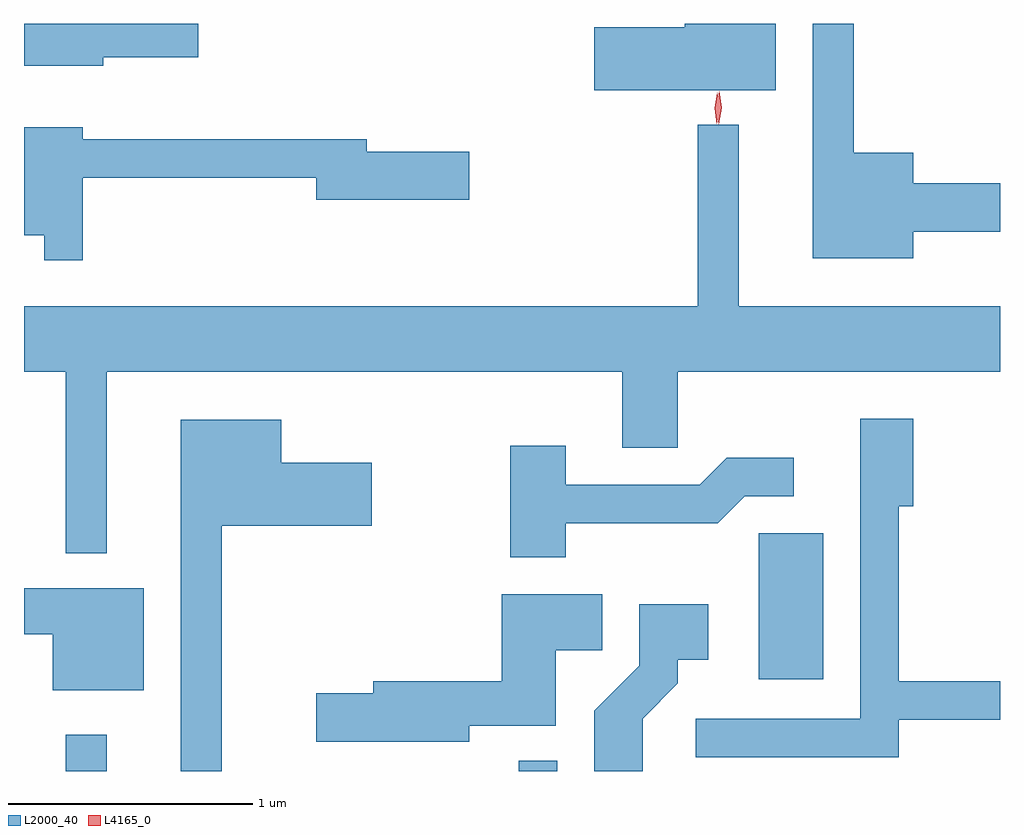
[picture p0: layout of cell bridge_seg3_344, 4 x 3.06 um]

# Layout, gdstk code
import gdstk
lib = gdstk.Library(unit=1e-6, precision=1e-09)
def R(c, l, rs):  # rectangles x0, y0, x1, y1
    for r in rs: c.add(gdstk.rectangle(r[:2], r[2:], *l))
def P(c, l, *ps):  # polygons
    for p in ps: c.add(gdstk.Polygon(p, *l))
L2000_40 = (2000, 40)
L4165_0 = (4165, 0)

bridge_seg3_344 = lib.new_cell('bridge_seg3_344')
R(bridge_seg3_344, L2000_40, [(558.341,1250.92,558.509,1251.068), (560.196,1250.92,560.354,1250.963), (561.181,1251.296,561.444,1251.894)])
P(bridge_seg3_344, L2000_40, [(558.494,1253.846),(558.884,1253.846),(558.884,1253.982),(558.169,1253.982),(558.169,1253.811),(558.494,1253.811)],
  [(561.814,1253.131),(562.169,1253.131),(562.169,1253.329),(561.814,1253.329),(561.814,1253.454),(561.569,1253.454),(561.569,1253.982),(561.401,1253.982),(561.401,1253.021),(561.814,1253.021)],
  [(561.249,1253.982),(560.876,1253.982),(560.876,1253.969),(560.506,1253.969),(560.506,1253.711),(561.249,1253.711)],
  [(558.509,1252.556),(560.621,1252.556),(560.621,1252.246),(560.849,1252.246),(560.849,1252.556),(562.169,1252.556),(562.169,1252.824),(561.099,1252.824),(561.099,1253.568),(560.931,1253.568),(560.931,1252.824),(558.169,1252.824),(558.169,1252.556),(558.341,1252.556),(558.341,1251.813),(558.509,1251.813)],
  [(558.409,1253.351),(559.366,1253.351),(559.366,1253.261),(559.994,1253.261),(559.994,1253.459),(559.574,1253.459),(559.574,1253.509),(558.409,1253.509),(558.409,1253.559),(558.169,1253.559),(558.169,1253.116),(558.251,1253.116),(558.251,1253.013),(558.409,1253.013)],
  [(561.754,1251.131),(562.169,1251.131),(562.169,1251.289),(561.754,1251.289),(561.754,1252.006),(561.814,1252.006),(561.814,1252.364),(561.596,1252.364),(561.596,1251.134),(560.923,1251.134),(560.923,1250.976),(561.754,1250.976)],
  [(558.979,1251.926),(559.594,1251.926),(559.594,1252.184),(559.224,1252.184),(559.224,1252.359),(558.811,1252.359),(558.811,1250.92),(558.979,1250.92)],
  [(560.389,1251.936),(561.012,1251.936),(561.122,1252.046),(561.323,1252.046),(561.323,1252.204),(561.049,1252.204),(560.939,1252.094),(560.389,1252.094),(560.389,1252.254),(560.161,1252.254),(560.161,1251.796),(560.389,1251.796)],
  [(558.659,1251.669),(558.169,1251.669),(558.169,1251.481),(558.286,1251.481),(558.286,1251.251),(558.659,1251.251)],
  [(559.994,1251.106),(560.349,1251.106),(560.349,1251.416),(560.539,1251.416),(560.539,1251.644),(560.126,1251.644),(560.126,1251.289),(559.601,1251.289),(559.601,1251.239),(559.366,1251.239),(559.366,1251.041),(559.994,1251.041)],
  [(560.704,1251.134),(560.849,1251.279),(560.849,1251.376),(560.974,1251.376),(560.974,1251.604),(560.691,1251.604),(560.691,1251.352),(560.506,1251.167),(560.506,1250.92),(560.704,1250.92)])
P(bridge_seg3_344, L4165_0, [(561.016,1253.57),(561.008,1253.638),(561.018,1253.706),(561.018,1253.706),(561.019,1253.706),(561.028,1253.638),(561.017,1253.57),(561.017,1253.57)],
  [(561.008,1253.573),(561,1253.637),(561.01,1253.699),(561.011,1253.7),(561.011,1253.699),(561.02,1253.636),(561.009,1253.573),(561.009,1253.573)])

lib.write_gds('bridge_seg3_344.gds')
